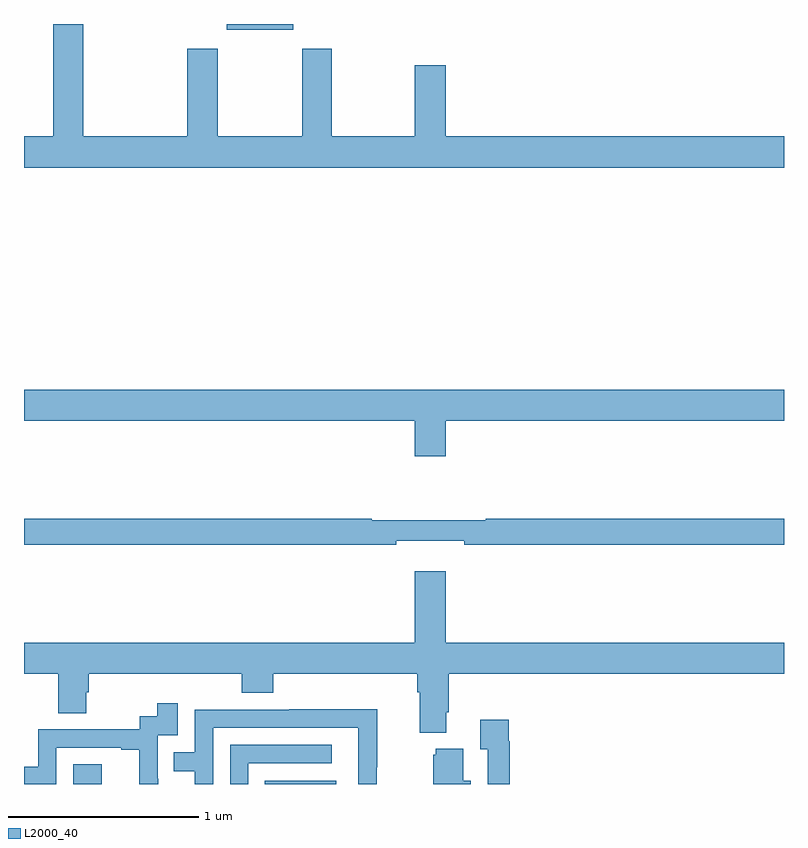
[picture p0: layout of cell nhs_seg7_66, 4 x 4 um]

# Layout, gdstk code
import gdstk
lib = gdstk.Library(unit=1e-6, precision=1e-09)
def R(c, l, rs):  # rectangles x0, y0, x1, y1
    for r in rs: c.add(gdstk.rectangle(r[:2], r[2:], *l))
def P(c, l, *ps):  # polygons
    for p in ps: c.add(gdstk.Polygon(p, *l))
L2000_40 = (2000, 40)

nhs_seg7_66 = lib.new_cell('nhs_seg7_66')
R(nhs_seg7_66, L2000_40, [(115.26,1036,115.408,1036.105), (116.266,1036,116.644,1036.018), (116.066,1039.97,116.416,1040)])
P(nhs_seg7_66, L2000_40, [(119,1039.408),(117.22,1039.408),(117.22,1039.783),(117.056,1039.783),(117.056,1039.408),(116.619,1039.408),(116.619,1039.87),(116.464,1039.87),(116.464,1039.408),(116.019,1039.408),(116.019,1039.87),(115.859,1039.87),(115.859,1039.408),(115.313,1039.408),(115.313,1040),(115.153,1040),(115.153,1039.408),(115,1039.408),(115,1039.244),(119,1039.244)],
  [(117.22,1037.912),(119,1037.912),(119,1038.076),(115,1038.076),(115,1037.912),(117.056,1037.912),(117.056,1037.724),(117.22,1037.724)],
  [(116.96,1037.279),(117.316,1037.279),(117.316,1037.26),(119,1037.26),(119,1037.396),(117.431,1037.396),(117.431,1037.389),(116.831,1037.389),(116.831,1037.396),(115,1037.396),(115,1037.26),(116.96,1037.26)],
  [(117.223,1036.378),(117.236,1036.378),(117.236,1036.58),(119,1036.58),(119,1036.744),(117.22,1036.744),(117.22,1037.119),(117.056,1037.119),(117.056,1036.744),(115,1036.744),(115,1036.58),(115.18,1036.58),(115.18,1036.372),(115.327,1036.372),(115.327,1036.482),(115.34,1036.482),(115.34,1036.58),(116.147,1036.58),(116.147,1036.481),(116.312,1036.481),(116.312,1036.58),(117.071,1036.58),(117.071,1036.484),(117.083,1036.484),(117.083,1036.271),(117.223,1036.271)],
  [(115.17,1036.191),(115.511,1036.191),(115.511,1036.179),(115.607,1036.179),(115.607,1036),(115.706,1036),(115.706,1036.028),(115.704,1036.028),(115.704,1036.257),(115.809,1036.257),(115.809,1036.426),(115.701,1036.426),(115.701,1036.356),(115.608,1036.356),(115.608,1036.287),(115.074,1036.287),(115.074,1036.092),(115,1036.092),(115,1036),(115.17,1036)],
  [(115.995,1036.296),(116.76,1036.296),(116.76,1036),(116.856,1036),(116.856,1036.087),(116.859,1036.087),(116.859,1036.394),(116.395,1036.394),(116.395,1036.392),(115.899,1036.392),(115.899,1036.167),(115.789,1036.167),(115.789,1036.066),(115.899,1036.066),(115.899,1036),(115.995,1036)],
  [(117.557,1036.226),(117.55,1036.226),(117.55,1036.339),(117.401,1036.339),(117.401,1036.183),(117.441,1036.183),(117.441,1036),(117.557,1036)],
  [(116.181,1036.11),(116.62,1036.11),(116.62,1036.206),(116.085,1036.206),(116.085,1036),(116.181,1036)],
  [(117.352,1036.018),(117.313,1036.018),(117.313,1036.186),(117.167,1036.186),(117.167,1036.155),(117.155,1036.155),(117.155,1036),(117.352,1036)])

lib.write_gds('nhs_seg7_66.gds')
